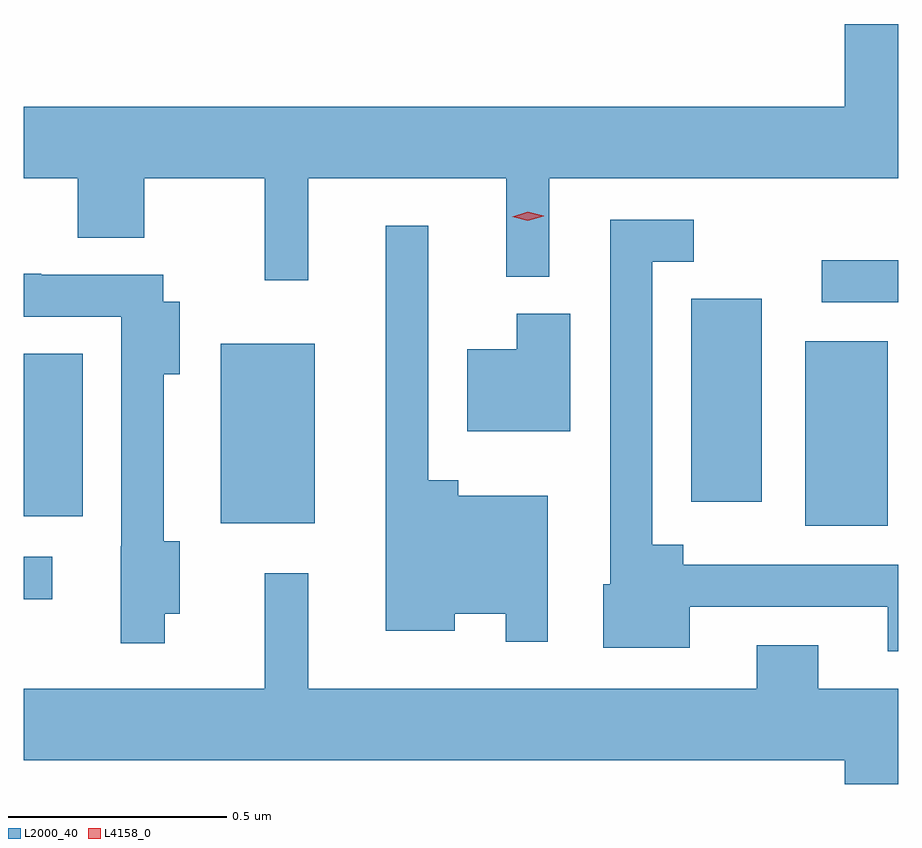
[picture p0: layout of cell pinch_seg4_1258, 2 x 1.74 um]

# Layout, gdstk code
import gdstk
lib = gdstk.Library(unit=1e-6, precision=1e-09)
def R(c, l, rs):  # rectangles x0, y0, x1, y1
    for r in rs: c.add(gdstk.rectangle(r[:2], r[2:], *l))
def P(c, l, *ps):  # polygons
    for p in ps: c.add(gdstk.Polygon(p, *l))
L2000_40 = (2000, 40)
L4158_0 = (4158, 0)

pinch_seg4_1258 = lib.new_cell('pinch_seg4_1258')
R(pinch_seg4_1258, L2000_40, [(318.974,826.493,319.039,826.59), (320.762,826.661,320.95,827.083), (319.424,826.667,319.639,827.077), (318.974,826.683,319.108,827.054), (320.501,826.716,320.662,827.18), (320.799,827.172,320.974,827.268)])
P(pinch_seg4_1258, L2000_40, [(319.625,827.456),(320.078,827.456),(320.078,827.231),(320.176,827.231),(320.176,827.456),(320.974,827.456),(320.974,827.809),(320.852,827.809),(320.852,827.62),(318.974,827.62),(318.974,827.456),(319.097,827.456),(319.097,827.32),(319.249,827.32),(319.249,827.456),(319.525,827.456),(319.525,827.223),(319.625,827.223)],
  [(320.974,826.572),(320.482,826.572),(320.482,826.618),(320.412,826.618),(320.412,827.265),(320.506,827.265),(320.506,827.361),(320.316,827.361),(320.316,826.781),(320.315,826.781),(320.315,826.527),(320.3,826.527),(320.3,826.382),(320.497,826.382),(320.497,826.476),(320.951,826.476),(320.951,826.374),(320.974,826.374)],
  [(320.172,826.729),(319.968,826.729),(319.968,826.765),(319.899,826.765),(319.899,827.347),(319.802,827.347),(319.802,826.421),(319.96,826.421),(319.96,826.46),(320.076,826.46),(320.076,826.395),(320.172,826.395)],
  [(319.296,826.46),(319.33,826.46),(319.33,826.626),(319.294,826.626),(319.294,827.008),(319.33,827.008),(319.33,827.173),(319.293,827.173),(319.293,827.235),(319.013,827.235),(319.013,827.238),(318.974,827.238),(318.974,827.139),(319.197,827.139),(319.197,826.614),(319.196,826.614),(319.196,826.392),(319.296,826.392)],
  [(320.224,827.146),(320.102,827.146),(320.102,827.065),(319.988,827.065),(319.988,826.877),(320.224,826.877)],
  [(320.974,826.288),(320.791,826.288),(320.791,826.387),(320.651,826.387),(320.651,826.288),(319.624,826.288),(319.624,826.552),(319.525,826.552),(319.525,826.288),(318.974,826.288),(318.974,826.124),(320.852,826.124),(320.852,826.07),(320.974,826.07)])
P(pinch_seg4_1258, L4158_0, [(320.127,827.359),(320.091,827.368),(320.091,827.368),(320.091,827.368),(320.127,827.379),(320.163,827.37),(320.163,827.369),(320.163,827.369)])

lib.write_gds('pinch_seg4_1258.gds')
